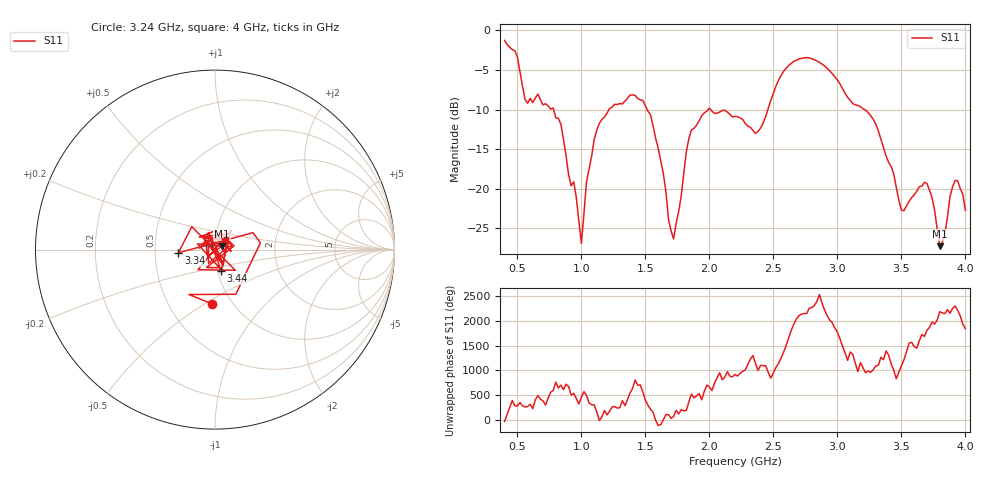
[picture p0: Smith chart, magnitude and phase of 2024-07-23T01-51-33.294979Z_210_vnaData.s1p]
!Created with skrf (http://scikit-rf.org).
# Hz S RI R 50.0
!freq ReS11 ImS11
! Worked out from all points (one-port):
!   181 points, 400 MHz to 4 GHz, reference 50 ohm
!   lowest |S11| = -27.3 dB at 3.8 GHz (marker M1), VSWR 1.09, Z = 54 + j2.04 ohm
!   |S11| at or under -10 dB: 1.514 GHz to 1.99 GHz (476.6 MHz wide, 27.2 % of centre); 2.01 GHz to 2.456 GHz (446.7 MHz wide, 20 % of centre); 3.213 GHz to end of sweep (the widest 3 of 4)
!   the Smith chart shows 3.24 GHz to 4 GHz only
!   S11 on the Smith chart (normalised r, x): 3.24 GHz: 0.81, -0.54; 3.34 GHz: 0.66, -0.02; 3.44 GHz: 1.04, -0.25; 4 GHz: 1.11, +0.11
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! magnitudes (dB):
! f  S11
! 400 MHz  -1.3
! 500 MHz  -3.3
! 560 MHz  -8.7
! 780 MHz  -9.8
! 860 MHz  -13.8
! 940 MHz  -19.1
! 1 GHz  -26.9
! 1.04 GHz  -19.1
! 1.1 GHz  -13.8
! 1.3 GHz  -9.2
! 1.48 GHz  -8.9
! 1.6 GHz  -14.9
! 1.72 GHz  -26.3
! 1.76 GHz  -22.9
! 1.86 GHz  -12.6
! 2.2 GHz  -10.9
! 2.38 GHz  -12.7
! 2.66 GHz  -3.9
! 3.1 GHz  -8.8
! 3.24 GHz  -10.4
! 3.34 GHz  -13.8
! 3.44 GHz  -18.1
! 3.5 GHz  -22.7
! 3.56 GHz  -21.6
! 3.7 GHz  -19.3
! 3.8 GHz  -27.3
! 3.92 GHz  -19.0
! 4 GHz  -22.7
